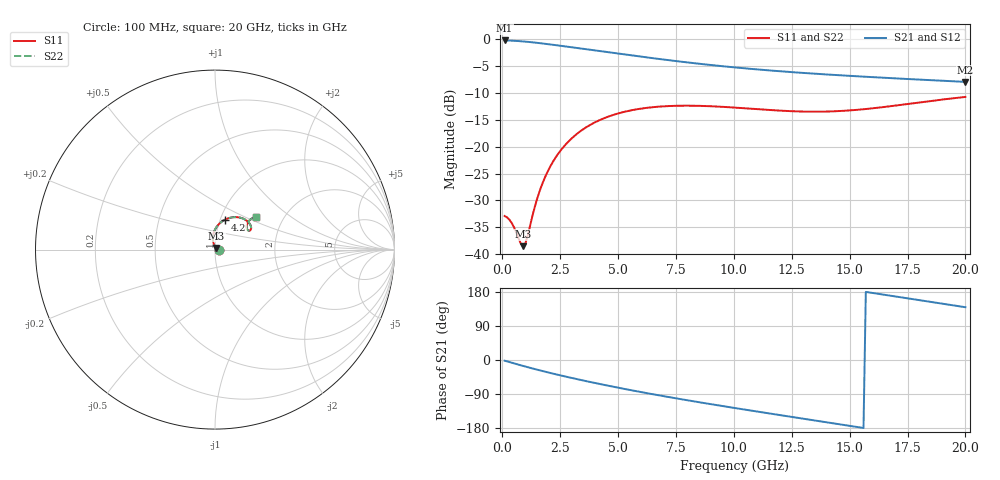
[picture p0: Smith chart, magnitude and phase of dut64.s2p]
! Created with skrf 1.9.0 (http://scikit-rf.org).
# GHz S RI R 50.0
!freq ReS11 ImS11 ReS21 ImS21 ReS12 ImS12 ReS22 ImS22
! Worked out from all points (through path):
!   200 points, 100 MHz to 20 GHz, reference 50 ohm
!   highest |S21| = -0.20 dB at 100 MHz (marker M1); lowest = -7.9 dB at 20 GHz (marker M2)
!   group delay of S21, straight-line fit = 29.1 ps
!   lowest |S11| = -38.5 dB at 900 MHz (marker M3), VSWR 1.02, Z = 50.8 + j0.882 ohm
!   |S11| at or under -10 dB: start of sweep to end of sweep
!   |S22| runs from -38.5 to -10.7 dB; largest |S21 - S12| = 1.6e-15
!   S11 on the Smith chart (normalised r, x): 100 MHz: 1.05, +0.00; 4.2 GHz: 1.06, +0.36; 20 GHz: 1.45, +0.58
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0.1  0.0226 0.000184  0.9764 -0.0304  0.9764 -0.0304  0.0226 0.000184
0.4  0.0196 0.00118  0.9653 -0.1202  0.9653 -0.1202  0.0196 0.00118
0.8  0.0107 0.00636  0.9323 -0.2327  0.9323 -0.2327  0.0107 0.00636
0.9  0.00806 0.00868  0.9213 -0.259  0.9213 -0.259  0.00806 0.00868
1  0.00532 0.0115  0.9093 -0.2846  0.9093 -0.2846  0.00532 0.0115
1.1  0.0026 0.0147  0.8965 -0.3093  0.8965 -0.3093  0.0026 0.0147
1.4  -0.0048 0.0269  0.8537 -0.3782  0.8537 -0.3782  -0.0048 0.0269
1.6  -0.00858 0.0369  0.8223 -0.4198  0.8223 -0.4198  -0.00858 0.0369
2  -0.0121 0.0599  0.7545 -0.4927  0.7545 -0.4927  -0.0121 0.0599
2.3  -0.0108 0.0784  0.7008 -0.539  0.7008 -0.539  -0.0108 0.0784
2.7  -0.00394 0.1027  0.6271 -0.5904  0.6271 -0.5904  -0.00394 0.1027
3.5  0.0239 0.1438  0.4781 -0.6619  0.4781 -0.6619  0.0239 0.1438
4.2  0.057 0.1674  0.3511 -0.695  0.3511 -0.695  0.057 0.1674
5.4  0.1152 0.1809  0.1516 -0.7018  0.1516 -0.7018  0.1152 0.1809
6.8  0.1667 0.1677  -0.0415 -0.6541  -0.0415 -0.6541  0.1667 0.1677
8.4  0.1962 0.1392  -0.2082 -0.5584  -0.2082 -0.5584  0.1962 0.1392
10.1  0.2007 0.1144  -0.3311 -0.4347  -0.3311 -0.4347  0.2007 0.1144
11.7  0.1918 0.105  -0.4056 -0.3097  -0.4056 -0.3097  0.1918 0.105
13.4  0.1804 0.1111  -0.4474 -0.1745  -0.4474 -0.1745  0.1804 0.1111
15  0.1761 0.1282  -0.4545 -0.0497  -0.4545 -0.0497  0.1761 0.1282
16.7  0.183 0.1512  -0.4299 0.074  -0.4299 0.074  0.183 0.1512
20  0.2273 0.1817  -0.3045 0.2621  -0.3045 0.2621  0.2273 0.1817
